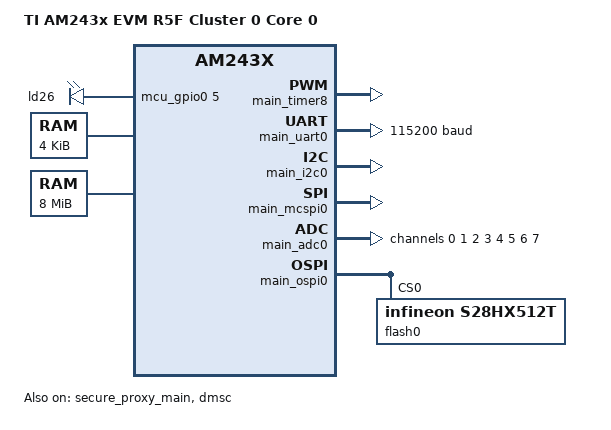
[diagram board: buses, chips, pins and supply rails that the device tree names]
/* Copyright (c) 2025 Texas Instruments Incorporated
 *
 * SPDX-License-Identifier: Apache-2.0
 */

/dts-v1/;

#include <zephyr/dt-bindings/gpio/gpio.h>
#include <ti/am64x_r5.dtsi>
#include "am243x_evm_am2434_r5f0_0-pinctrl.dtsi"

/ {
	model = "TI AM243x EVM R5F Cluster 0 Core 0";
	compatible = "ti,am243x-evm-r5f-cluster-0-core-0";

	chosen {
		zephyr,sram = &sram;
		zephyr,sram1 = &atcm;
		zephyr,console = &main_uart0;
		zephyr,shell-uart = &main_uart0;
		zephyr,ipc = &ipc0;
		zephyr,ipc-shm = &ipc_shm0;
		zephyr,flash-controller = &main_ospi0;
		zephyr,flash = &flash0;
	};

	aliases {
		led0 = &ld26;
		adc0 = &main_adc0;
	};

	leds: leds {
		compatible = "gpio-leds";

		ld26: led_0 {
			gpios = <&mcu_gpio0 5 GPIO_ACTIVE_HIGH>;
		};
	};

	rsc_table: memory@a0100000 {
		compatible = "zephyr,memory-region", "mmio-sram";
		reg = <0xa0100000 DT_SIZE_K(4)>;
		zephyr,memory-region = "RSC_TABLE";
		zephyr,memory-attr = <DT_MEM_ARM(ATTR_MPU_RAM)>;
	};

	ipc_shm0: memory@a5000000 {
		compatible = "zephyr,memory-region", "mmio-sram";
		reg = <0xa5000000 DT_SIZE_M(8)>;
		zephyr,memory-region = "IPC_SHM";
		zephyr,memory-attr = <DT_MEM_ARM(ATTR_MPU_IO)>;
	};

	ipc0: ipc {
		compatible = "zephyr,mbox-ipm";
		mboxes = <&main_mbox6 0>, <&main_mbox6 1>;
		mbox-names = "rx", "tx";
	};
};

&secure_proxy_main {
	status = "okay";
};

&dmsc {
	status = "okay";
};

/* system timer */
&main_timer8 {
	status = "okay";
};

&main_uart0 {
	status = "okay";
	pinctrl-0 = <&main_uart0_tx &main_uart0_rx>;
	pinctrl-names = "default";
	current-speed = <115200>;
};

&mcu_gpio0 {
	pinctrl-0 = <&mcu_gpio0_led>;
	pinctrl-names = "default";
	status = "okay";
};

&main_i2c0 {
	pinctrl-0 = <&main_i2c0_scl &main_i2c0_sda>;
	pinctrl-names = "default";
	status = "okay";
	power-domains = <&i2c0_pd>;
};

&main_mcspi0 {
	pinctrl-0 = <&spi0_clk &spi0_cs0 &spi0_d0 &spi0_d1>;
	pinctrl-names = "default";
	status = "okay";
	power-domains = <&mcspi0_pd>;
};

&main_adc0 {
	ti,vrefp = <1800>;
	ti,fifo = <0>;
	status = "okay";
	power-domains = <&adc0_pd>;

	channel@0 {
		reg = <0>;
		ti,open-delay = <0>;
		zephyr,gain = "ADC_GAIN_1";
		zephyr,reference = "ADC_REF_INTERNAL";
		zephyr,acquisition-time = <0>;
		zephyr,resolution = <12>;
		zephyr,oversampling = <4>;
	};

	channel@1 {
		reg = <1>;
		ti,open-delay = <0>;
		zephyr,gain = "ADC_GAIN_1";
		zephyr,reference = "ADC_REF_INTERNAL";
		zephyr,acquisition-time = <0>;
		zephyr,resolution = <12>;
		zephyr,oversampling = <4>;
	};

	channel@2 {
		reg = <2>;
		ti,open-delay = <0>;
		zephyr,gain = "ADC_GAIN_1";
		zephyr,reference = "ADC_REF_INTERNAL";
		zephyr,acquisition-time = <0>;
		zephyr,resolution = <12>;
		zephyr,oversampling = <4>;
	};

	channel@3 {
		reg = <3>;
		ti,open-delay = <0>;
		zephyr,gain = "ADC_GAIN_1";
		zephyr,reference = "ADC_REF_INTERNAL";
		zephyr,acquisition-time = <0>;
		zephyr,resolution = <12>;
		zephyr,oversampling = <4>;
	};

	channel@4 {
		reg = <4>;
		ti,open-delay = <0>;
		zephyr,gain = "ADC_GAIN_1";
		zephyr,reference = "ADC_REF_INTERNAL";
		zephyr,acquisition-time = <0>;
		zephyr,resolution = <12>;
		zephyr,oversampling = <4>;
	};

	channel@5 {
		reg = <5>;
		ti,open-delay = <0>;
		zephyr,gain = "ADC_GAIN_1";
		zephyr,reference = "ADC_REF_INTERNAL";
		zephyr,acquisition-time = <0>;
		zephyr,resolution = <12>;
		zephyr,oversampling = <4>;
	};

	channel@6 {
		reg = <6>;
		ti,open-delay = <0>;
		zephyr,gain = "ADC_GAIN_1";
		zephyr,reference = "ADC_REF_INTERNAL";
		zephyr,acquisition-time = <0>;
		zephyr,resolution = <12>;
		zephyr,oversampling = <4>;
	};

	channel@7 {
		reg = <7>;
		ti,open-delay = <0>;
		zephyr,gain = "ADC_GAIN_1";
		zephyr,reference = "ADC_REF_INTERNAL";
		zephyr,acquisition-time = <0>;
		zephyr,resolution = <12>;
		zephyr,oversampling = <4>;
	};
};

&main_mbox6 {
	usr-id = <0>;
	status = "okay";
};

&main_ospi0 {
	pinctrl-0 = <&main_ospi0_clk
		     &main_ospi0_d0
		     &main_ospi0_d1
		     &main_ospi0_d2
		     &main_ospi0_d3
		     &main_ospi0_d4
		     &main_ospi0_d5
		     &main_ospi0_d6
		     &main_ospi0_d7
		     &main_ospi0_dqs
		     &main_ospi0_lbclko
		     &main_ospi0_csn0>;
	pinctrl-names = "default";
	status = "okay";

	flash0: flash@0 {
		compatible = "infineon,s28hx512t", "jedec,mspi-nor";
		power-domains = <&fss0_fsas_0_pd>;
		status = "okay";
		reg = <0x0>;
		jedec-id = [34 5B 1A];
		size = <DT_SIZE_M(128)>;
		mspi-max-frequency = <DT_FREQ_M(50)>;
		mspi-io-mode = "MSPI_IO_MODE_OCTAL";
		mspi-endian = "MSPI_LITTLE_ENDIAN";
		mspi-data-rate = "MSPI_DATA_RATE_DUAL";
		address-length = "ADDR_4_BYTE";
		command-length = "INSTR_2_BYTE";
		mspi-hardware-ce-num = <0>;
		mspi-cpp-mode = "MSPI_CPP_MODE_0";
		mspi-ce-polarity = "MSPI_CE_ACTIVE_LOW";
		initial-soft-reset;
		t-reset-recovery = <90000>; /* 90us */
	};
};
